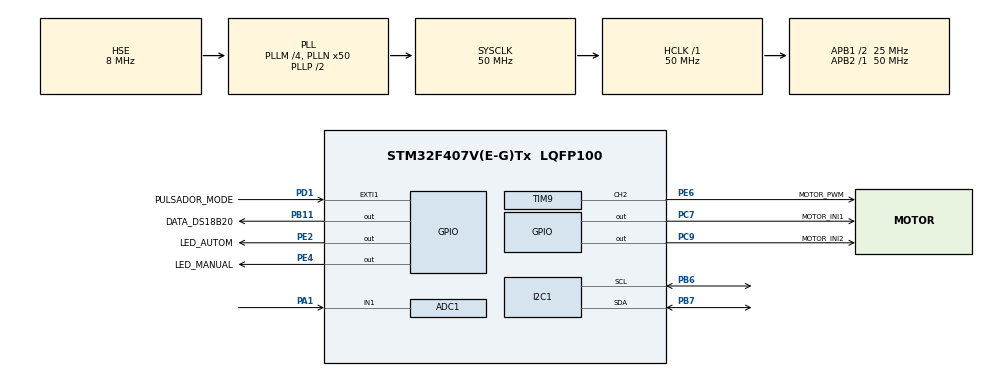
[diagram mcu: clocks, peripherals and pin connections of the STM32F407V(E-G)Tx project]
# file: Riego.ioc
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ADC1.Channel-1\#ChannelRegularConversion=ADC_CHANNEL_1
ADC1.ClockPrescaler=ADC_CLOCK_SYNC_PCLK_DIV2
ADC1.ContinuousConvMode=ENABLE
ADC1.NbrOfConversion=1
ADC1.NbrOfConversionFlag=1
ADC1.SamplingTime-1\#ChannelRegularConversion=ADC_SAMPLETIME_144CYCLES
ADC1.ScanConvMode=ENABLE
ADC1.master=1
Mcu.Family=STM32F4
Mcu.Name=STM32F407V(E-G)Tx
Mcu.Package=LQFP100
NVIC.EXTI1_IRQn=true\:0\:0\:false\:false\:true\:true\:true
NVIC.PriorityGroup=NVIC_PRIORITYGROUP_4
PA1.GPIO_Mode=GPIO_MODE_ANALOG
PA1.GPIO_PuPd=GPIO_NOPULL
PA1.Signal=ADCx_IN1
PB11.GPIO_Label=DATA_DS18B20
PB11.Signal=GPIO_Output
PB6.Mode=I2C
PB6.Signal=I2C1_SCL
PB7.Mode=I2C
PB7.Signal=I2C1_SDA
PC7.GPIO_Label=MOTOR_INI1
PC7.Signal=GPIO_Output
PC9.GPIO_Label=MOTOR_INI2
PC9.Signal=GPIO_Output
PD1.GPIO_Label=PULSADOR_MODE
PD1.Signal=GPXTI1
PE2.GPIO_Label=LED_AUTOM
PE2.Signal=GPIO_Output
PE4.GPIO_Label=LED_MANUAL
PE4.Signal=GPIO_Output
PE6.GPIO_Label=MOTOR_PWM
PE6.Signal=S_TIM9_CH2
PH0-OSC_IN.Mode=HSE-External-Oscillator
PH0-OSC_IN.Signal=RCC_OSC_IN
PH1-OSC_OUT.Mode=HSE-External-Oscillator
PH1-OSC_OUT.Signal=RCC_OSC_OUT
ProjectManager.HeapSize=0x200
ProjectManager.StackSize=0x400
ProjectManager.TargetToolchain=STM32CubeIDE
RCC.48MHZClocksFreq_Value=25000000
RCC.AHBFreq_Value=50000000
RCC.APB1CLKDivider=RCC_HCLK_DIV2
RCC.APB1Freq_Value=25000000
RCC.APB1TimFreq_Value=50000000
RCC.APB2Freq_Value=50000000
RCC.APB2TimFreq_Value=50000000
RCC.CortexFreq_Value=50000000
RCC.HCLKFreq_Value=50000000
RCC.HSE_VALUE=8000000
RCC.HSI_VALUE=16000000
RCC.LSE_VALUE=32768
RCC.PLLM=4
RCC.PLLN=50
RCC.PLLSourceVirtual=RCC_PLLSOURCE_HSE
RCC.SYSCLKFreq_VALUE=50000000
RCC.SYSCLKSource=RCC_SYSCLKSOURCE_PLLCLK
RCC.VCOOutputFreq_Value=100000000
SH.ADCx_IN1.0=ADC1_IN1,IN1
SH.S_TIM9_CH2.0=TIM9_CH2,PWM Generation2 CH2
TIM6.Period=0xffff-1
TIM6.Prescaler=50-1
TIM9.Channel-PWM\ Generation2\ CH2=TIM_CHANNEL_2
TIM9.Period=2000-1
TIM9.Prescaler=500-1
VP_TIM6_VS_ClockSourceINT.Mode=Enable_Timer
board=custom

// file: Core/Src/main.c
/* USER CODE BEGIN Header */
/**
  ******************************************************************************
  * @file           : main.c
  * @brief          : Main program body
  ******************************************************************************
  * @attention
  *
  * <h2><center>&copy; Copyright (c) 2020 STMicroelectronics.
  * All rights reserved.</center></h2>
  *
  * This software component is licensed by ST under BSD 3-Clause license,
  * the "License"; You may not use this file except in compliance with the
  * License. You may obtain a copy of the License at:
  *                        opensource.org/licenses/BSD-3-Clause
  *
  ******************************************************************************
  */
/* USER CODE END Header */
#include "main.h"

/* USER CODE BEGIN Includes */

#include "i2c-lcd.h"
#include "stdio.h"

/* USER CODE END Includes */

/* USER CODE BEGIN PD */

// PUERTOS DS18B20 - B
#define DS18B20_PORT GPIOB
#define DS18B20_PIN GPIO_PIN_11 // Datos  DS18B20 - Sensor de temperatura

// PUERTO DATOS DHT11 - A -- INACTIVO
//#define DHT11_PORT GPIOA
//#define DHT11_PIN GPIO_PIN_14     // Datos DHT11 - Sensor de temperatura y humedad

//MOTOR
#define MOTOR_PORT GPIOC
#define INI1_PIN GPIO_PIN_7
#define INI2_PIN GPIO_PIN_9

// PUERTO LEDS - E
#define PORT_LED GPIOE
#define LED_MANUAL GPIO_PIN_4     // Led indicador modo manual
#define LED_AUTOM GPIO_PIN_2   	// led indicador modo automatico

// PUERTO PUSH - D
#define PORT_PUSH GPIOD
#define PUSH GPIO_PIN_1    // Pulsador para cambiar de modo

/* USER CODE END PD */

ADC_HandleTypeDef hadc1;

I2C_HandleTypeDef hi2c1;

TIM_HandleTypeDef htim6;
TIM_HandleTypeDef htim9;

void SystemClock_Config(void);
static void MX_GPIO_Init(void);
static void MX_I2C1_Init(void);
static void MX_TIM6_Init(void);
static void MX_TIM9_Init(void);
static void MX_ADC1_Init(void);

/* USER CODE BEGIN 0 */

/*************************************************** FUNCIONES ******************************************/

/****************** DELAY CON TIM6 Y CLOCK INTERNO ******************/

void delay (uint16_t time)
{
	/* change your code here for the delay in microseconds */
	__HAL_TIM_SET_COUNTER(&htim6, 0);
	while ((__HAL_TIM_GET_COUNTER(&htim6))<time);
}

/********************** SET PIN (INPUT Y OUTPUT)************************/

void Set_Pin_Output (GPIO_TypeDef *GPIOx, uint16_t GPIO_Pin)
{
	GPIO_InitTypeDef GPIO_InitStruct = {0};
	GPIO_InitStruct.Pin = GPIO_Pin;
	GPIO_InitStruct.Mode = GPIO_MODE_OUTPUT_PP;
	GPIO_InitStruct.Speed = GPIO_SPEED_FREQ_LOW;
	HAL_GPIO_Init(GPIOx, &GPIO_InitStruct);
}

void Set_Pin_Input (GPIO_TypeDef *GPIOx, uint16_t GPIO_Pin)
{
	GPIO_InitTypeDef GPIO_InitStruct = {0};
	GPIO_InitStruct.Pin = GPIO_Pin;
	GPIO_InitStruct.Mode = GPIO_MODE_INPUT;
	GPIO_InitStruct.Pull = GPIO_NOPULL;
	HAL_GPIO_Init(GPIOx, &GPIO_InitStruct);
}

/******************** FUNCIONES DISPLAY LCD ********************/

void Display_ModoAutom ()
{
	char str[20] = {0};
	lcd_put_cur(0, 2);

	sprintf (str, " MODO AUTOM. ");
	lcd_send_string(str);
}

void Display_ModoManual ()
{
	char str[20] = {0};
	lcd_put_cur(0, 2);

	sprintf (str, " MODO MANUAL ");
	lcd_send_string(str);
}

void Display_Temp (float Temp)
{
	char str[20] = {0};
	lcd_put_cur(1, 1);

	sprintf (str, "TEMP: %.2f ", Temp);
	lcd_send_string(str);
	lcd_send_data('C');
}

void Display_Pot (uint32_t Pot)
{
	char str[20] = {0};
	lcd_put_cur(1, 4);

	sprintf (str, "POT: %d ", Pot);
	lcd_send_string(str);
	lcd_send_data('%');
}

/************************ FUNCIONES DS18B20 *******************************/

uint8_t DS18B20_Start (void)
{
	uint8_t Response = 0;
	Set_Pin_Output(DS18B20_PORT, DS18B20_PIN);   // set the pin as output
	HAL_GPIO_WritePin (DS18B20_PORT, DS18B20_PIN, 0);  // pull the pin low
	delay (480);   // delay according to datasheet

	Set_Pin_Input(DS18B20_PORT, DS18B20_PIN);    // set the pin as input
	delay (80);    // delay according to datasheet

	if (!(HAL_GPIO_ReadPin (DS18B20_PORT, DS18B20_PIN))) Response = 1;    // if the pin is low i.e the presence pulse is detected
	else Response = -1;

	delay (400); // 480 us delay totally.

	return Response;
}

void DS18B20_Write (uint8_t data)
{
	Set_Pin_Output(DS18B20_PORT, DS18B20_PIN);  // set as output

	for (int i=0; i<8; i++)
	{

		if ((data & (1<<i))!=0)  // if the bit is high
		{
			// write 1

			Set_Pin_Output(DS18B20_PORT, DS18B20_PIN);  // set as output
			HAL_GPIO_WritePin (DS18B20_PORT, DS18B20_PIN, 0);  // pull the pin LOW
			delay (1);  // wait for 1 us

			Set_Pin_Input(DS18B20_PORT, DS18B20_PIN);  // set as input
			delay (50);  // wait for 60 us
		}

		else  // if the bit is low
		{
			// write 0

			Set_Pin_Output(DS18B20_PORT, DS18B20_PIN);
			HAL_GPIO_WritePin (DS18B20_PORT, DS18B20_PIN, 0);  // pull the pin LOW
			delay (50);  // wait for 60 us

			Set_Pin_Input(DS18B20_PORT, DS18B20_PIN);
		}
	}
}

uint8_t DS18B20_Read (void)
{
	uint8_t value=0;

	Set_Pin_Input(DS18B20_PORT, DS18B20_PIN);

	for (int i=0;i<8;i++)
	{
		Set_Pin_Output(DS18B20_PORT, DS18B20_PIN);   // set as output

		HAL_GPIO_WritePin (DS18B20_PORT, DS18B20_PIN, 0);  // pull the data pin LOW
		delay (1);  // wait for > 1us

		Set_Pin_Input(DS18B20_PORT, DS18B20_PIN);  // set as input
		if (HAL_GPIO_ReadPin (DS18B20_PORT, DS18B20_PIN))  // if the pin is HIGH
		{
			value |= 1<<i;  // read = 1
		}
		delay (50);  // wait for 60 us
	}
	return value;
}

/*********************** FUNCIONES DE MOTOR ****************************/
void avanceMotor(int s)
{
	//TIM9->CCR1=s;
	__HAL_TIM_SET_COMPARE(&htim9, TIM_CHANNEL_2, s);
	HAL_GPIO_WritePin(MOTOR_PORT, INI2_PIN,GPIO_PIN_SET);
	HAL_GPIO_WritePin(MOTOR_PORT, INI1_PIN,GPIO_PIN_RESET);
}

void pareMotor()
{
	//TIM9->CCR1=s;
	__HAL_TIM_SET_COMPARE(&htim9, TIM_CHANNEL_2, 0);
	HAL_GPIO_WritePin(MOTOR_PORT, INI2_PIN,GPIO_PIN_RESET);
	HAL_GPIO_WritePin(MOTOR_PORT, INI1_PIN,GPIO_PIN_RESET);
}

/*********************** PORCENTAJE DEL MOTOR *****************************/
int porcentajePot(int valPot)
{
	return (((valPot-430)*100)/(4095-430));
}

/********************** DEBOUNCER************************************/

int debouncer(volatile int* button_int, GPIO_TypeDef* GPIO_port, uint16_t GPIO_number){
	static uint8_t button_count=0;
	static int counter=0; // Para ver los tiempos que lleva el programa

	if (*button_int==1){ // Cuando detecta primer flanco
		if (button_count==0) { // No he contado aun ningun 1
			counter=HAL_GetTick();
			button_count++; // Sumo el primer 1 detectado
		}
		if (HAL_GetTick()-counter>=20){ // Cada 20 ms miro el valor de entrada
			counter=HAL_GetTick();
			if (HAL_GPIO_ReadPin(GPIO_port, GPIO_number)!=1){ // Si recibo una bajada de tension,
				button_count=1; //reseto el contador de 1 a 1
			}
			else{ // si tras esos 20 ms es un 1, lo sumo al contador
				button_count++;
			}
			if (button_count==4){ //Cuando he detectado 4 pulsos que son 1 consecutivos
				button_count=0; //Entonces reseteo y envio señal de que detecte un 1
				*button_int=0;
				return 1;
			}
		}
	}
	return 0;
}

/*********************************************** VARIABLES ******************************************************/

/***************************** VARIABLES MODOS ************************/
// MODE 0 AUTOMATICO (PREDETERMIANDO O INICIAL)
// MODE 1 MANUAL
volatile int modo=0;

/*********************** VARIABLES DHT11 Y DS18B20 ******************/
uint8_t Rh_byte1, Rh_byte2, Temp_byte1, Temp_byte2;
uint16_t SUM, RH, TEMP;

float Temperature = 0;
float Humidity = 0;
uint8_t Presence = 0;

/*********************** VARIABLES DHT11 Y DS18B20 ******************/
int valPot;
int valPotPorcentaje;

/********************** VARIABLES DEBOUNCER *************************/
volatile int pulsacion = 0;
volatile uint32_t contador = 0;
volatile uint32_t val = 0;
volatile uint32_t media = 0;

int tiempo_anterior=0;

/* USER CODE END 0 */

int main(void)
{

  /* MCU Configuration--------------------------------------------------------*/

  /* Reset of all peripherals, Initializes the Flash interface and the Systick. */
  HAL_Init();

  /* Configure the system clock */
  SystemClock_Config();

  /* Initialize all configured peripherals */
  MX_GPIO_Init();
  MX_I2C1_Init(); // PANTALLA LCD
  MX_TIM6_Init(); // RELOJ EXTERNO
  MX_TIM9_Init(); // PWM MOTOR
  MX_ADC1_Init(); // POTENCIOMETRO
  /* USER CODE BEGIN 2 */

  // PWM MOTOR
  HAL_TIM_PWM_Start(&htim9, TIM_CHANNEL_2);

  // RELOJ INTERNO PARA DELAY
  HAL_TIM_Base_Start(&htim6);

  // INICIO DE LCD
   lcd_init();
   lcd_send_string("INICIANDO>>>>");
   HAL_Delay(2000);
   lcd_clear ();

  /* USER CODE END 2 */

  /* Infinite loop */
  while (1)
  {

    /* USER CODE BEGIN 3 */
	  pulsacion=0;
	  if((modo==0)&&(debouncer(&pulsacion,PORT_PUSH,PUSH)==0)) // MODO AUTOMATICO
	  {

		  HAL_GPIO_WritePin(PORT_LED,LED_AUTOM,1); // Enciendo led autom
		  HAL_GPIO_WritePin(PORT_LED,LED_MANUAL,0);

		  /********* LCD ********/
		  Display_ModoAutom();
		  Display_Temp(Temperature);

		  /********************** DS18B20 ***********************/

		  Presence = DS18B20_Start ();
		  HAL_Delay (1);
		  DS18B20_Write (0xCC);  // skip ROM
		  DS18B20_Write (0x44);  // convert t
		  HAL_Delay (800);

		  Presence = DS18B20_Start ();
		  HAL_Delay(1);
		  DS18B20_Write (0xCC);  // skip ROM
		  DS18B20_Write (0xBE);  // Read Scratch-pad

		  Temp_byte1 = DS18B20_Read();
		  Temp_byte2 = DS18B20_Read();
		  TEMP = (Temp_byte2<<8)|Temp_byte1;
		  Temperature = (float)TEMP/16;

		  /****** MOTOR ********/
		  if(Temperature<25.0)
			  pareMotor();
		  else if((Temperature>=25.0)&&(Temperature<30.0))
			  avanceMotor(500); // (0-2000)
		  else if((Temperature>=30.0)&&(Temperature<35.0))
			  avanceMotor(1000); // (0-2000)
		  else if(Temperature>=35.0)
			  avanceMotor(1500); // (0-2000)

		  lcd_clear (); // REFRESCAMOS LA LCD
	  }
	  else if((modo==1)&&(debouncer(&pulsacion,PORT_PUSH,PUSH)==0))
	  {
		  HAL_GPIO_WritePin(PORT_LED,LED_MANUAL,1); // Enciendo led manual
		  HAL_GPIO_WritePin(PORT_LED,LED_AUTOM,0);

		  /********* LCD ********/
		  Display_ModoManual();
		  Display_Pot(valPotPorcentaje);
		  HAL_Delay(250);

		  /***** POTENCIOMETRO ******/

		  HAL_ADC_Start(&hadc1);
		  if(HAL_ADC_PollForConversion(&hadc1, HAL_MAX_DELAY)==HAL_OK)
		  {
			  valPot=HAL_ADC_GetValue(&hadc1);
		  }
		  valPotPorcentaje=porcentajePot(valPot);

		  /****** PWM MOTOR ******/
		  pareMotor();

		  if((valPotPorcentaje>=0)&&(valPotPorcentaje<20))
			  avanceMotor(200); // (0-2000)
		  else if((valPotPorcentaje>=20)&&(valPotPorcentaje<40))
			  avanceMotor(600); // (0-2000)
		  else if((valPotPorcentaje>=40)&&(valPotPorcentaje<60))
			  avanceMotor(1000); // (0-2000)
		  else if((valPotPorcentaje>=60)&&(valPotPorcentaje<80))
			  avanceMotor(1400); // (0-2000)
		  else if((valPotPorcentaje>=80)&&(valPotPorcentaje<=100))
			  avanceMotor(1800); // (0-2000)

		  lcd_clear (); // REFRESCAMOS LA LCD

	  }
  }

  /* USER CODE END 3 */
}

void SystemClock_Config(void)
{
  RCC_OscInitTypeDef RCC_OscInitStruct = {0};
  RCC_ClkInitTypeDef RCC_ClkInitStruct = {0};

  /** Configure the main internal regulator output voltage
  */
  __HAL_RCC_PWR_CLK_ENABLE();
  __HAL_PWR_VOLTAGESCALING_CONFIG(PWR_REGULATOR_VOLTAGE_SCALE1);
  /** Initializes the RCC Oscillators according to the specified parameters
  * in the RCC_OscInitTypeDef structure.
  */
  RCC_OscInitStruct.OscillatorType = RCC_OSCILLATORTYPE_HSE;
  RCC_OscInitStruct.HSEState = RCC_HSE_ON;
  RCC_OscInitStruct.PLL.PLLState = RCC_PLL_ON;
  RCC_OscInitStruct.PLL.PLLSource = RCC_PLLSOURCE_HSE;
  RCC_OscInitStruct.PLL.PLLM = 4;
  RCC_OscInitStruct.PLL.PLLN = 50;
  RCC_OscInitStruct.PLL.PLLP = RCC_PLLP_DIV2;
  RCC_OscInitStruct.PLL.PLLQ = 4;
  if (HAL_RCC_OscConfig(&RCC_OscInitStruct) != HAL_OK)
  {
    Error_Handler();
  }
  /** Initializes the CPU, AHB and APB buses clocks
  */
  RCC_ClkInitStruct.ClockType = RCC_CLOCKTYPE_HCLK|RCC_CLOCKTYPE_SYSCLK
                              |RCC_CLOCKTYPE_PCLK1|RCC_CLOCKTYPE_PCLK2;
  RCC_ClkInitStruct.SYSCLKSource = RCC_SYSCLKSOURCE_PLLCLK;
  RCC_ClkInitStruct.AHBCLKDivider = RCC_SYSCLK_DIV1;
  RCC_ClkInitStruct.APB1CLKDivider = RCC_HCLK_DIV2;
  RCC_ClkInitStruct.APB2CLKDivider = RCC_HCLK_DIV1;

  if (HAL_RCC_ClockConfig(&RCC_ClkInitStruct, FLASH_LATENCY_1) != HAL_OK)
  {
    Error_Handler();
  }
}

static void MX_ADC1_Init(void)
{

  ADC_ChannelConfTypeDef sConfig = {0};

  /** Configure the global features of the ADC (Clock, Resolution, Data Alignment and number of conversion)
  */
  hadc1.Instance = ADC1;
  hadc1.Init.ClockPrescaler = ADC_CLOCK_SYNC_PCLK_DIV2;
  hadc1.Init.Resolution = ADC_RESOLUTION_12B;
  hadc1.Init.ScanConvMode = ENABLE;
  hadc1.Init.ContinuousConvMode = ENABLE;
  hadc1.Init.DiscontinuousConvMode = DISABLE;
  hadc1.Init.ExternalTrigConvEdge = ADC_EXTERNALTRIGCONVEDGE_NONE;
  hadc1.Init.ExternalTrigConv = ADC_SOFTWARE_START;
  hadc1.Init.DataAlign = ADC_DATAALIGN_RIGHT;
  hadc1.Init.NbrOfConversion = 1;
  hadc1.Init.DMAContinuousRequests = DISABLE;
  hadc1.Init.EOCSelection = ADC_EOC_SINGLE_CONV;
  if (HAL_ADC_Init(&hadc1) != HAL_OK)
  {
    Error_Handler();
  }
  /** Configure for the selected ADC regular channel its corresponding rank in the sequencer and its sample time.
  */
  sConfig.Channel = ADC_CHANNEL_1;
  sConfig.Rank = 1;
  sConfig.SamplingTime = ADC_SAMPLETIME_144CYCLES;
  if (HAL_ADC_ConfigChannel(&hadc1, &sConfig) != HAL_OK)
  {
    Error_Handler();
  }

}

static void MX_I2C1_Init(void)
{

  hi2c1.Instance = I2C1;
  hi2c1.Init.ClockSpeed = 100000;
  hi2c1.Init.DutyCycle = I2C_DUTYCYCLE_2;
  hi2c1.Init.OwnAddress1 = 0;
  hi2c1.Init.AddressingMode = I2C_ADDRESSINGMODE_7BIT;
  hi2c1.Init.DualAddressMode = I2C_DUALADDRESS_DISABLE;
  hi2c1.Init.OwnAddress2 = 0;
  hi2c1.Init.GeneralCallMode = I2C_GENERALCALL_DISABLE;
  hi2c1.Init.NoStretchMode = I2C_NOSTRETCH_DISABLE;
  if (HAL_I2C_Init(&hi2c1) != HAL_OK)
  {
    Error_Handler();
  }

}

static void MX_TIM6_Init(void)
{

  TIM_MasterConfigTypeDef sMasterConfig = {0};

  htim6.Instance = TIM6;
  htim6.Init.Prescaler = 50-1;
  htim6.Init.CounterMode = TIM_COUNTERMODE_UP;
  htim6.Init.Period = 0xffff-1;
  htim6.Init.AutoReloadPreload = TIM_AUTORELOAD_PRELOAD_DISABLE;
  if (HAL_TIM_Base_Init(&htim6) != HAL_OK)
  {
    Error_Handler();
  }
  sMasterConfig.MasterOutputTrigger = TIM_TRGO_RESET;
  sMasterConfig.MasterSlaveMode = TIM_MASTERSLAVEMODE_DISABLE;
  if (HAL_TIMEx_MasterConfigSynchronization(&htim6, &sMasterConfig) != HAL_OK)
  {
    Error_Handler();
  }

}

static void MX_TIM9_Init(void)
{

  TIM_OC_InitTypeDef sConfigOC = {0};

  htim9.Instance = TIM9;
  htim9.Init.Prescaler = 500-1;
  htim9.Init.CounterMode = TIM_COUNTERMODE_UP;
  htim9.Init.Period = 2000-1;
  htim9.Init.ClockDivision = TIM_CLOCKDIVISION_DIV1;
  htim9.Init.AutoReloadPreload = TIM_AUTORELOAD_PRELOAD_DISABLE;
  if (HAL_TIM_PWM_Init(&htim9) != HAL_OK)
  {
    Error_Handler();
  }
  sConfigOC.OCMode = TIM_OCMODE_PWM1;
  sConfigOC.Pulse = 0;
  sConfigOC.OCPolarity = TIM_OCPOLARITY_HIGH;
  sConfigOC.OCFastMode = TIM_OCFAST_DISABLE;
  if (HAL_TIM_PWM_ConfigChannel(&htim9, &sConfigOC, TIM_CHANNEL_2) != HAL_OK)
  {
    Error_Handler();
  }
  HAL_TIM_MspPostInit(&htim9);

}

static void MX_GPIO_Init(void)
{
  GPIO_InitTypeDef GPIO_InitStruct = {0};

  /* GPIO Ports Clock Enable */
  __HAL_RCC_GPIOE_CLK_ENABLE();
  __HAL_RCC_GPIOH_CLK_ENABLE();
  __HAL_RCC_GPIOA_CLK_ENABLE();
  __HAL_RCC_GPIOB_CLK_ENABLE();
  __HAL_RCC_GPIOC_CLK_ENABLE();
  __HAL_RCC_GPIOD_CLK_ENABLE();

  /*Configure GPIO pin Output Level */
  HAL_GPIO_WritePin(GPIOE, LED_AUTOM_Pin|LED_MANUAL_Pin, GPIO_PIN_RESET);

  /*Configure GPIO pin Output Level */
  HAL_GPIO_WritePin(DATA_DS18B20_GPIO_Port, DATA_DS18B20_Pin, GPIO_PIN_RESET);

  /*Configure GPIO pin Output Level */
  HAL_GPIO_WritePin(GPIOC, MOTOR_INI1_Pin|MOTOR_INI2_Pin, GPIO_PIN_RESET);

  /*Configure GPIO pins : LED_AUTOM_Pin LED_MANUAL_Pin */
  GPIO_InitStruct.Pin = LED_AUTOM_Pin|LED_MANUAL_Pin;
  GPIO_InitStruct.Mode = GPIO_MODE_OUTPUT_PP;
  GPIO_InitStruct.Pull = GPIO_NOPULL;
  GPIO_InitStruct.Speed = GPIO_SPEED_FREQ_LOW;
  HAL_GPIO_Init(GPIOE, &GPIO_InitStruct);

  /*Configure GPIO pin : DATA_DS18B20_Pin */
  GPIO_InitStruct.Pin = DATA_DS18B20_Pin;
  GPIO_InitStruct.Mode = GPIO_MODE_OUTPUT_PP;
  GPIO_InitStruct.Pull = GPIO_NOPULL;
  GPIO_InitStruct.Speed = GPIO_SPEED_FREQ_LOW;
  HAL_GPIO_Init(DATA_DS18B20_GPIO_Port, &GPIO_InitStruct);

  /*Configure GPIO pins : MOTOR_INI1_Pin MOTOR_INI2_Pin */
  GPIO_InitStruct.Pin = MOTOR_INI1_Pin|MOTOR_INI2_Pin;
  GPIO_InitStruct.Mode = GPIO_MODE_OUTPUT_PP;
  GPIO_InitStruct.Pull = GPIO_NOPULL;
  GPIO_InitStruct.Speed = GPIO_SPEED_FREQ_LOW;
  HAL_GPIO_Init(GPIOC, &GPIO_InitStruct);

  /*Configure GPIO pin : PULSADOR_MODE_Pin */
  GPIO_InitStruct.Pin = PULSADOR_MODE_Pin;
  GPIO_InitStruct.Mode = GPIO_MODE_IT_RISING;
  GPIO_InitStruct.Pull = GPIO_NOPULL;
  HAL_GPIO_Init(PULSADOR_MODE_GPIO_Port, &GPIO_InitStruct);

  /* EXTI interrupt init*/
  HAL_NVIC_SetPriority(EXTI1_IRQn, 0, 0);
  HAL_NVIC_EnableIRQ(EXTI1_IRQn);

}

/* USER CODE BEGIN 4 */

void HAL_GPIO_EXTI_Callback(uint16_t GPIO_Pin)
{
	  if(GPIO_Pin==GPIO_PIN_1)
	  	{
		  pulsacion = 1;
		  val=val+contador;
		  contador=0;
		  if(HAL_GPIO_ReadPin(PORT_PUSH,PUSH)&&(modo==0)) 		// Si estoy en modo automatico
		  {
			  modo=1; 											// Cambio a modo manual
		  }
		  else if(HAL_GPIO_ReadPin(PORT_PUSH,PUSH)&&(modo==1)) 	// Si estoy en modo manual
		  {
			  modo=0; 											// Cambio a modo automatico
		  }
	  	}
}

/* USER CODE END 4 */

void Error_Handler(void)
{
  __disable_irq();
  while (1)
  {
  }
}

/************************ (C) COPYRIGHT STMicroelectronics *****END OF FILE****/
